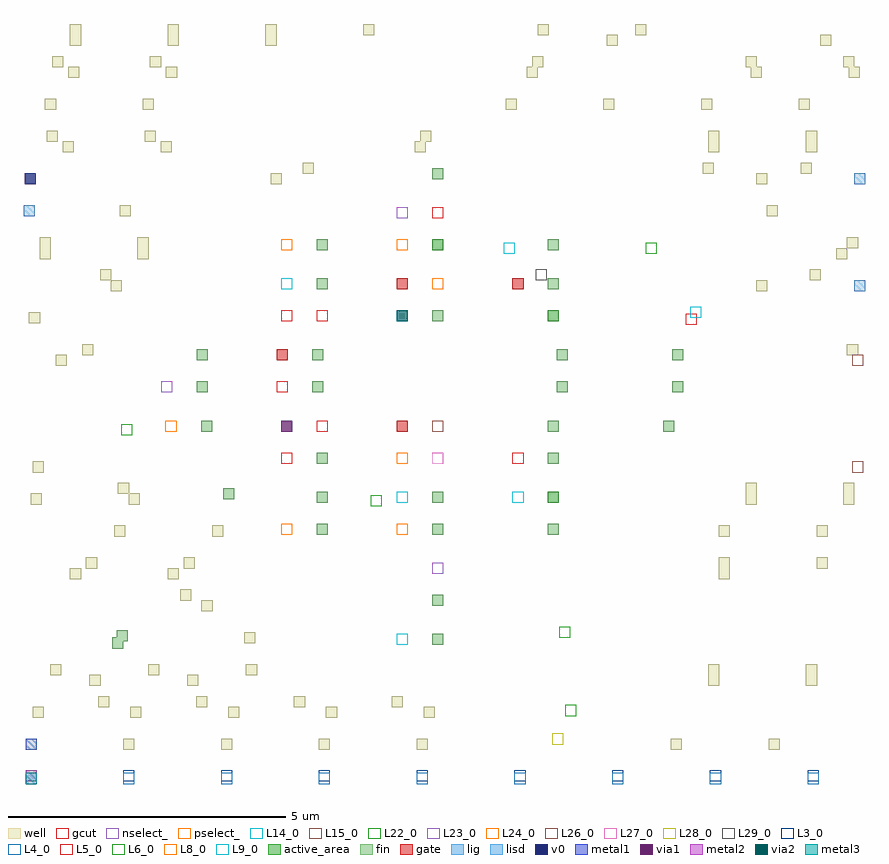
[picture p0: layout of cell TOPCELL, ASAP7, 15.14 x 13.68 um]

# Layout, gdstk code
import gdstk
lib = gdstk.Library(unit=1e-6, precision=1e-09)
def R(c, l, rs):  # rectangles x0, y0, x1, y1
    for r in rs: c.add(gdstk.rectangle(r[:2], r[2:], *l))
def A(c, l, x, y, w, h, nx, ny, dx, dy):  # array of equal rectangles
    R(c, l, [(x+i*dx, y+j*dy, x+i*dx+w, y+j*dy+h) for i in range(nx) for j in range(ny)])
well = (1, 0)
fin = (2, 0)
L3_0 = (3, 0)
L4_0 = (4, 0)
L5_0 = (5, 0)
L6_0 = (6, 0)
gate = (7, 0)
L8_0 = (8, 0)
L9_0 = (9, 0)
gcut = (10, 0)
active_area = (11, 0)
nselect_ = (12, 0)
pselect_ = (13, 0)
L14_0 = (14, 0)
L15_0 = (15, 0)
lig = (16, 0)
lisd = (17, 0)
v0 = (18, 0)
metal1 = (19, 0)
metal2 = (20, 0)
via1 = (21, 0)
L22_0 = (22, 0)
L23_0 = (23, 0)
L24_0 = (24, 0)
via2 = (25, 0)
L26_0 = (26, 0)
L27_0 = (27, 0)
L28_0 = (28, 0)
L29_0 = (29, 0)
metal3 = (30, 0)

topcell = lib.new_cell('TOPCELL')
A(topcell, well, 130.7, 262.62, 0.2, 0.2, 4, 1, 1.76, 0)
A(topcell, well, 129.068, 263.196, 0.2, 0.2, 5, 1, 1.76, 0)
A(topcell, well, 130.252, 263.388, 0.2, 0.2, 4, 1, 1.76, 0)
A(topcell, well, 129.388, 263.964, 0.2, 0.2, 3, 1, 1.76, 0)
A(topcell, well, 137.58, 274.14, 0.2, 0.2, 4, 1, 1.76, 0)
A(topcell, well, 129.74, 275.292, 0.2, 0.2, 3, 1, 1.76, 0)
A(topcell, well, 129.74, 275.484, 0.2, 0.2, 4, 1, 1.76, 0)
R(topcell, well, [(140.556,262.62,140.756,262.82), (142.316,262.62,142.516,262.82), (130.092,263.772,130.292,263.972), (131.852,263.772,132.052,263.972), (141.228,263.772,141.428,263.972), (142.988,263.772,143.188,263.972), (141.228,263.964,141.428,264.164), (142.988,263.964,143.188,264.164), (132.876,264.54,133.076,264.74), (132.108,265.116,132.308,265.316), (131.724,265.308,131.924,265.508), (129.74,265.692,129.94,265.892), (131.5,265.692,131.7,265.892), (141.42,265.692,141.62,265.892), (130.028,265.884,130.228,266.084), (131.788,265.884,131.988,266.084), (141.42,265.884,141.62,266.084), (143.18,265.884,143.38,266.084), (130.54,266.46,130.74,266.66), (132.3,266.46,132.5,266.66), (141.42,266.46,141.62,266.66), (143.18,266.46,143.38,266.66), (129.036,267.036,129.236,267.236), (130.796,267.036,130.996,267.236), (141.9,267.036,142.1,267.236), (143.66,267.036,143.86,267.236), (130.604,267.228,130.804,267.428), (141.9,267.228,142.1,267.428), (143.66,267.228,143.86,267.428), (129.068,267.612,129.268,267.812), (129.484,269.532,129.684,269.732), (129.964,269.724,130.164,269.924), (143.724,269.724,143.924,269.924), (129.004,270.3,129.204,270.5), (130.476,270.876,130.676,271.076), (142.092,270.876,142.292,271.076), (130.284,271.068,130.484,271.268), (143.052,271.068,143.252,271.268), (129.196,271.452,129.396,271.652), (130.956,271.452,131.156,271.652), (143.532,271.452,143.732,271.652), (129.196,271.644,129.396,271.844), (130.956,271.644,131.156,271.844), (143.724,271.644,143.924,271.844), (130.636,272.22,130.836,272.42), (142.284,272.22,142.484,272.42), (133.356,272.796,133.556,272.996), (142.092,272.796,142.292,272.996), (133.932,272.988,134.132,273.188), (141.132,272.988,141.332,273.188), (142.892,272.988,143.092,273.188), (129.612,273.372,129.812,273.572), (131.372,273.372,131.572,273.572), (135.948,273.372,136.148,273.572), (141.228,273.372,141.428,273.572), (142.988,273.372,143.188,273.572), (129.324,273.564,129.524,273.764), (131.084,273.564,131.284,273.764), (136.044,273.564,136.244,273.764), (141.228,273.564,141.428,273.764), (142.988,273.564,143.188,273.764), (129.292,274.14,129.492,274.34), (131.052,274.14,131.252,274.34), (129.708,274.716,129.908,274.916), (131.468,274.716,131.668,274.916), (137.964,274.716,138.164,274.916), (141.996,274.716,142.196,274.916), (143.756,274.716,143.956,274.916), (129.42,274.908,129.62,275.108), (131.18,274.908,131.38,275.108), (138.06,274.908,138.26,275.108), (141.9,274.908,142.1,275.108), (143.66,274.908,143.86,275.108), (139.404,275.292,139.604,275.492), (143.244,275.292,143.444,275.492), (138.156,275.484,138.356,275.684), (139.916,275.484,140.116,275.684)])
A(topcell, fin, 134.18, 266.492, 0.2, 0.2, 3, 1, 2.08, 0)
R(topcell, fin, [(130.5,264.444,130.7,264.644), (136.26,264.508,136.46,264.708), (130.58,264.572,130.78,264.772), (136.26,265.212,136.46,265.412), (134.18,267.068,134.38,267.268), (136.26,267.068,136.46,267.268), (132.5,267.132,132.7,267.332), (134.18,267.772,134.38,267.972), (138.34,267.772,138.54,267.972), (132.1,268.348,132.3,268.548), (138.34,268.348,138.54,268.548), (140.42,268.348,140.62,268.548), (132.02,269.052,132.22,269.252), (134.1,269.052,134.3,269.252), (138.5,269.052,138.7,269.252), (140.58,269.052,140.78,269.252), (132.02,269.628,132.22,269.828), (134.1,269.628,134.3,269.828), (138.5,269.628,138.7,269.828), (140.58,269.628,140.78,269.828), (136.26,270.332,136.46,270.532), (134.18,270.908,134.38,271.108), (138.34,270.908,138.54,271.108), (134.18,271.612,134.38,271.812), (138.34,271.612,138.54,271.812), (136.26,272.892,136.46,273.092)])
A(topcell, L3_0, 130.7, 262.054, 0.2, 0.2, 8, 1, 1.76, 0)
A(topcell, L4_0, 130.7, 262.006, 0.2, 0.2, 8, 1, 1.76, 0)
R(topcell, L5_0, [(133.544,267.772,133.744,267.972), (137.704,267.772,137.904,267.972), (133.464,269.052,133.664,269.252), (140.824,270.268,141.024,270.468), (133.544,270.332,133.744,270.532)])
R(topcell, L6_0, [(138.656,263.228,138.856,263.428), (138.544,264.636,138.744,264.836), (130.664,268.284,130.864,268.484), (140.104,271.548,140.304,271.748)])
R(topcell, gate, [(135.624,268.348,135.824,268.548), (133.464,269.628,133.664,269.828), (135.624,270.908,135.824,271.108), (137.704,270.908,137.904,271.108)])
R(topcell, L8_0, [(133.544,266.492,133.744,266.692), (135.624,266.492,135.824,266.692), (135.624,267.772,135.824,267.972), (133.544,271.612,133.744,271.812)])
R(topcell, L9_0, [(135.624,267.068,135.824,267.268), (137.704,267.068,137.904,267.268), (140.904,270.396,141.104,270.596), (137.544,271.548,137.744,271.748)])
R(topcell, gcut, [(134.18,268.348,134.38,268.548), (134.18,270.332,134.38,270.532), (136.26,272.188,136.46,272.388)])
R(topcell, active_area, [(138.34,267.068,138.54,267.268), (138.34,270.332,138.54,270.532), (136.26,271.612,136.46,271.812)])
R(topcell, nselect_, [(136.26,265.788,136.46,265.988), (131.38,269.052,131.58,269.252)])
R(topcell, pselect_, [(131.46,268.348,131.66,268.548), (136.26,270.908,136.46,271.108)])
R(topcell, L14_0, [(135.62,264.508,135.82,264.708), (133.54,270.908,133.74,271.108)])
R(topcell, L15_0, [(143.82,267.612,144.02,267.812), (143.82,269.532,144.02,269.732)])
R(topcell, lig, [(143.852,270.876,144.052,271.076), (143.852,272.796,144.052,272.996)])
R(topcell, lisd, [(128.912,272.22,129.112,272.42)])
R(topcell, v0, [(128.928,272.796,129.128,272.996)])
R(topcell, metal1, [(128.944,262.62,129.144,262.82)])
R(topcell, metal2, [(128.944,262.054,129.144,262.254)])
R(topcell, via1, [(133.544,268.348,133.744,268.548)])
R(topcell, L22_0, [(135.152,267.004,135.352,267.204)])
R(topcell, L23_0, [(135.62,272.188,135.82,272.388)])
R(topcell, L24_0, [(135.624,271.612,135.824,271.812)])
R(topcell, via2, [(135.624,270.332,135.824,270.532)])
R(topcell, L26_0, [(136.26,268.348,136.46,268.548)])
R(topcell, L27_0, [(136.26,267.772,136.46,267.972)])
R(topcell, L28_0, [(138.421,262.716,138.621,262.916)])
R(topcell, L29_0, [(138.124,271.068,138.324,271.268)])
R(topcell, metal3, [(128.944,262.006,129.144,262.206)])

lib.write_gds('TOPCELL.gds')
